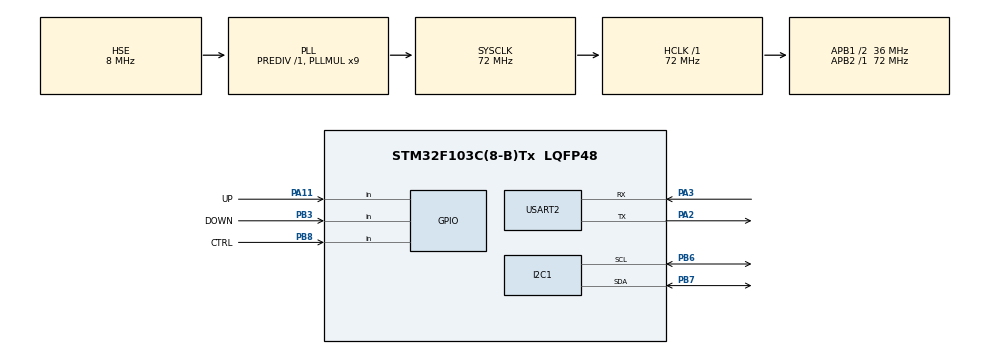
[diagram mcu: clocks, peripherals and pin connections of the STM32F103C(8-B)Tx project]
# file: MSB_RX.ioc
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Mcu.Family=STM32F1
Mcu.Name=STM32F103C(8-B)Tx
Mcu.Package=LQFP48
NVIC.PriorityGroup=NVIC_PRIORITYGROUP_4
NVIC.TIM1_BRK_IRQn=true\:0\:0\:false\:false\:true\:true\:true\:true
NVIC.TIM1_CC_IRQn=true\:0\:0\:false\:false\:true\:true\:true\:true
NVIC.TIM1_TRG_COM_IRQn=true\:0\:0\:false\:false\:true\:true\:true\:true
NVIC.TIM1_UP_IRQn=true\:0\:0\:false\:false\:true\:true\:true\:true
PA11.GPIO_Label=UP
PA11.GPIO_PuPd=GPIO_PULLUP
PA11.Signal=GPIO_Input
PA13.Mode=Serial_Wire
PA13.Signal=SYS_JTMS-SWDIO
PA14.Mode=Serial_Wire
PA14.Signal=SYS_JTCK-SWCLK
PA2.Mode=Asynchronous
PA2.Signal=USART2_TX
PA3.Mode=Asynchronous
PA3.Signal=USART2_RX
PB3.GPIO_Label=DOWN
PB3.GPIO_PuPd=GPIO_PULLUP
PB3.Signal=GPIO_Input
PB6.Mode=I2C
PB6.Signal=I2C1_SCL
PB7.Mode=I2C
PB7.Signal=I2C1_SDA
PB8.GPIO_Label=CTRL
PB8.GPIO_PuPd=GPIO_PULLUP
PB8.Signal=GPIO_Input
PD0-OSC_IN.Mode=HSE-External-Oscillator
PD0-OSC_IN.Signal=RCC_OSC_IN
PD1-OSC_OUT.Mode=HSE-External-Oscillator
PD1-OSC_OUT.Signal=RCC_OSC_OUT
ProjectManager.HeapSize=0x200
ProjectManager.StackSize=0x400
ProjectManager.TargetToolchain=CMake
RCC.AHBFreq_Value=72000000
RCC.APB1CLKDivider=RCC_HCLK_DIV2
RCC.APB1Freq_Value=36000000
RCC.APB1TimFreq_Value=72000000
RCC.APB2Freq_Value=72000000
RCC.APB2TimFreq_Value=72000000
RCC.HCLKFreq_Value=72000000
RCC.PLLMUL=RCC_PLL_MUL9
RCC.PLLSourceVirtual=RCC_PLLSOURCE_HSE
RCC.SYSCLKFreq_VALUE=72000000
RCC.SYSCLKSource=RCC_SYSCLKSOURCE_PLLCLK
RCC.USBFreq_Value=72000000
TIM1.Period=99
TIM1.Prescaler=71
USART2.VirtualMode=VM_ASYNC
VP_TIM1_VS_ClockSourceINT.Mode=Internal
board=custom

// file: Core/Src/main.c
/* USER CODE BEGIN Header */
/**
  ******************************************************************************
  * @file           : main.c
  * @brief          : Main program body
  ******************************************************************************
  * @attention
  *
  * Copyright (c) 2025 STMicroelectronics.
  * All rights reserved.
  *
  * This software is licensed under terms that can be found in the LICENSE file
  * in the root directory of this software component.
  * If no LICENSE file comes with this software, it is provided AS-IS.
  *
  ******************************************************************************
  */
/* USER CODE END Header */
#include "main.h"
#include "i2c.h"
#include "tim.h"
#include "usart.h"
#include "gpio.h"

/* USER CODE BEGIN Includes */
#include <stdio.h>

#include "oled.h"
#include "font.h"
#include <string.h>
#include "ssd1306.h"
/* USER CODE END Includes */

/* USER CODE BEGIN PV */
int Value = 10;
char text[10] = {0},ctrl[5]="Stop";
uint8_t up_flag=0,down_flag=0,ctrl_flag=0;

/* USER CODE END PV */

void SystemClock_Config(void);
/* USER CODE BEGIN PFP */
void Refresh_SSD1306(void) {
  ssd1306_clear(0);
  ssd1306_draw_string_12_24(0, 5, ctrl,1, 1 );
  sprintf(text, "%d.%d",Value/10,Value%10);
  ssd1306_draw_string_12_24(80,5,text,1,1);
  ssd1306_refresh();
  ssd1306_refresh();//主页
};
void ZDT_SetSpeed_Right(int speed) {
  // Placeholder for speed setting function
   char buf[8]={0x01,0xF6,0x00,0x00,0x00,0x00,0x00,0x6B};
   buf[4]=speed&0xFF;
   buf[5]=(speed>>8)&0xFF;
   HAL_UART_Transmit(&huart2, (uint8_t*)buf, 8, HAL_MAX_DELAY);
};
void ZDT_SetSpeed_Left(int speed) {
  char buf[8]={0x01,0xF6,0x01,0x00,0x00,0x00,0x00,0x6B};
  buf[4]=speed&0xFF;
  buf[5]=(speed>>8)&0xFF;
  HAL_UART_Transmit(&huart2, (uint8_t*)buf, 8, HAL_MAX_DELAY);
}
void ZDT_STOP(void) {
  char buf[5]={0x01, 0xFE ,0x98 ,0x00, 0x6B};
  HAL_UART_Transmit(&huart2, (uint8_t*)buf, 5, HAL_MAX_DELAY);
}
/* USER CODE END PFP */

int main(void)
{

  /* MCU Configuration--------------------------------------------------------*/

  /* Reset of all peripherals, Initializes the Flash interface and the Systick. */
  HAL_Init();

  /* Configure the system clock */
  SystemClock_Config();

  /* Initialize all configured peripherals */
  MX_GPIO_Init();
  MX_I2C1_Init();
  MX_TIM1_Init();
  MX_USART2_UART_Init();
  /* USER CODE BEGIN 2 */
  HAL_Delay(100);
  ssd1306_init();
  ssd1306_clear(0);
  ssd1306_draw_string_12_24(45, 5, "MSB",1, 1 );
  ssd1306_refresh();
  ssd1306_refresh();//标题
  while (1) {
    if (HAL_GPIO_ReadPin(CTRL_GPIO_Port, CTRL_Pin)==GPIO_PIN_RESET) break;
  }
  HAL_Delay(200);
  Refresh_SSD1306();

  HAL_TIM_Base_Start_IT(&htim1);

  /* USER CODE END 2 */

  /* Infinite loop */
  while (1)
  {

  }
}

void SystemClock_Config(void)
{
  RCC_OscInitTypeDef RCC_OscInitStruct = {0};
  RCC_ClkInitTypeDef RCC_ClkInitStruct = {0};

  /** Initializes the RCC Oscillators according to the specified parameters
  * in the RCC_OscInitTypeDef structure.
  */
  RCC_OscInitStruct.OscillatorType = RCC_OSCILLATORTYPE_HSE;
  RCC_OscInitStruct.HSEState = RCC_HSE_ON;
  RCC_OscInitStruct.HSEPredivValue = RCC_HSE_PREDIV_DIV1;
  RCC_OscInitStruct.HSIState = RCC_HSI_ON;
  RCC_OscInitStruct.PLL.PLLState = RCC_PLL_ON;
  RCC_OscInitStruct.PLL.PLLSource = RCC_PLLSOURCE_HSE;
  RCC_OscInitStruct.PLL.PLLMUL = RCC_PLL_MUL9;
  if (HAL_RCC_OscConfig(&RCC_OscInitStruct) != HAL_OK)
  {
    Error_Handler();
  }

  /** Initializes the CPU, AHB and APB buses clocks
  */
  RCC_ClkInitStruct.ClockType = RCC_CLOCKTYPE_HCLK|RCC_CLOCKTYPE_SYSCLK
                              |RCC_CLOCKTYPE_PCLK1|RCC_CLOCKTYPE_PCLK2;
  RCC_ClkInitStruct.SYSCLKSource = RCC_SYSCLKSOURCE_PLLCLK;
  RCC_ClkInitStruct.AHBCLKDivider = RCC_SYSCLK_DIV1;
  RCC_ClkInitStruct.APB1CLKDivider = RCC_HCLK_DIV2;
  RCC_ClkInitStruct.APB2CLKDivider = RCC_HCLK_DIV1;

  if (HAL_RCC_ClockConfig(&RCC_ClkInitStruct, FLASH_LATENCY_2) != HAL_OK)
  {
    Error_Handler();
  }
}

/* USER CODE BEGIN 4 */
#define DELAY_LEN 2
void HAL_TIM_PeriodElapsedCallback(TIM_HandleTypeDef* htim) {
  if (htim->Instance == TIM1) {
    static int LorR=0,Uf=0,Df=0;
    static int Delay=DELAY_LEN,DDelay=DELAY_LEN;

    if (HAL_GPIO_ReadPin(CTRL_GPIO_Port, CTRL_Pin) == GPIO_PIN_RESET && ctrl_flag == 0) {
      ctrl_flag = 1;
      if (strcmp("Stop", ctrl) == 0) {
        if (LorR == 0) {
          strcpy(ctrl, "Right");
          Refresh_SSD1306();
          ZDT_SetSpeed_Right((int) ((float) Value * 19.0 / 10.0));
          LorR=1;
        }else {
          strcpy(ctrl, "Left");
          Refresh_SSD1306();
          ZDT_SetSpeed_Left((int) ((float) Value * 19.0 / 10.0));
          LorR=0;
        }
      }else {
        strcpy(ctrl, "Stop");
        Refresh_SSD1306();
        ZDT_STOP();
      }
    } else if (HAL_GPIO_ReadPin(CTRL_GPIO_Port, CTRL_Pin) == GPIO_PIN_SET) {
      ctrl_flag = 0;
    }
    //*******************************************************************************************//
    if (HAL_GPIO_ReadPin(UP_GPIO_Port, UP_Pin) == GPIO_PIN_RESET  && strcmp("Stop", ctrl) == 0) {
      if (Uf==0) {
        Uf=1;
        if (Value < 60) {
          Value+=1;
        }
      }else {
        Delay--;
        if (Delay <= 0) {
          Delay=DELAY_LEN;
          if (Value < 60) {
            Value+=1;
          }
        }
      }
      Refresh_SSD1306();
      return;
    } else if (HAL_GPIO_ReadPin(UP_GPIO_Port, UP_Pin) == GPIO_PIN_SET) {
      Delay=DELAY_LEN;
      Uf=0;
    }
    //*******************************************************************************************//
    if (HAL_GPIO_ReadPin(DOWN_GPIO_Port, DOWN_Pin) == GPIO_PIN_RESET  && strcmp("Stop", ctrl) == 0) {
      if (Df==0) {
        Df=1;
        if (Value >10) {
          Value-=1;
        }
      }else {
        DDelay--;
        if (DDelay <= 0) {
          DDelay=DELAY_LEN;
          if (Value >10) {
            Value-=1;
          }
        }
      }
      Refresh_SSD1306();
      return;
    } else if (HAL_GPIO_ReadPin(DOWN_GPIO_Port, DOWN_Pin) == GPIO_PIN_SET) {
      DDelay=DELAY_LEN;
      Df = 0;
    }

  }

}
/* USER CODE END 4 */

void Error_Handler(void)
{
  __disable_irq();
  while (1)
  {
  }
}
